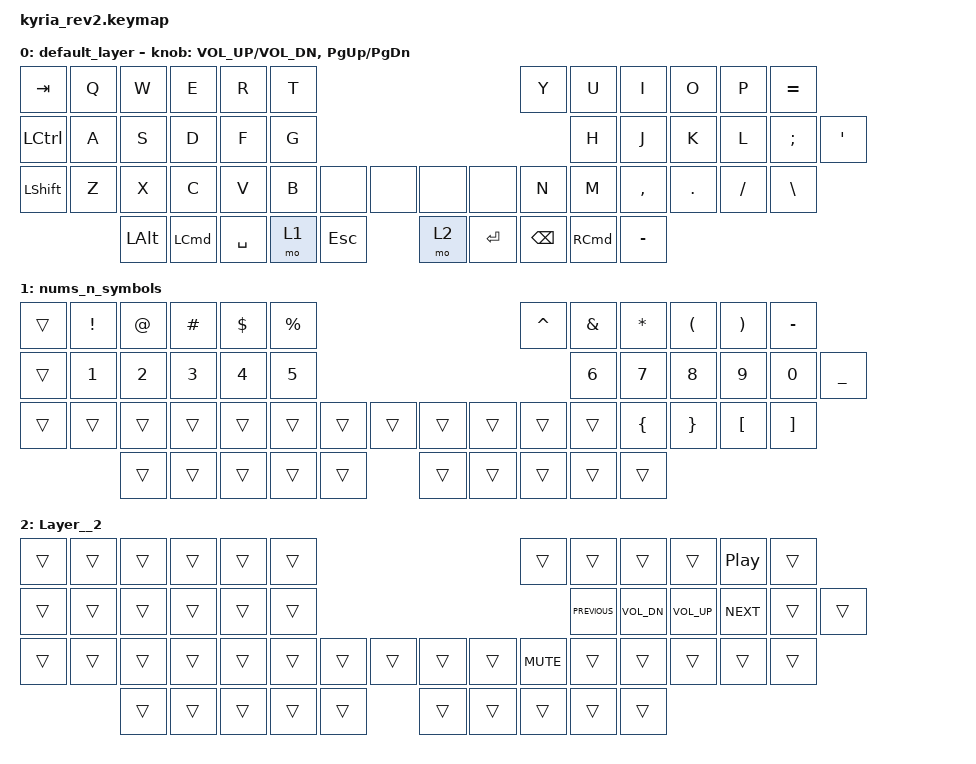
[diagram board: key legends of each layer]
/*
 * Copyright (c) 2020 The ZMK Contributors
 *
 * SPDX-License-Identifier: MIT
 */

#include <behaviors.dtsi>
#include <dt-bindings/zmk/keys.h>

/ {
    keymap {
        compatible = "zmk,keymap";

        default_layer {
            // ---------------------------------------------------------------------------------------------------------------------------------
            // |  ESC  |  Q  |  W  |  E   |  R   |  T   |                                          |  Y   |  U    |  I    |  O   |   P   |   \  |
            // |  TAB  |  A  |  S  |  D   |  F   |  G   |                                          |  H   |  J    |  K    |  L   |   ;   |   '  |
            // | SHIFT |  Z  |  X  |  C   |  V   |  B   | L SHIFT | L SHIFT |  | L SHIFT | L SHIFT |  N   |  M    |  ,    |  .   |   /   | CTRL |
            //                     | GUI  | DEL  | RET  |  SPACE  |   ESC   |  |   RET   |  SPACE  | TAB  | BSPC  | R-ALT |

            bindings = <
         &kp TAB  &kp Q  &kp W         &kp E             &kp R      &kp T                                            &kp Y              &kp U      &kp I    &kp O      &kp P      &kp EQUAL
&kp LEFT_CONTROL  &kp A  &kp S         &kp D             &kp F      &kp G                                            &kp H              &kp J      &kp K    &kp L   &kp SEMI        &kp SQT
  &kp LEFT_SHIFT  &kp Z  &kp X         &kp C             &kp V      &kp B  &none    &none  &none      &none          &kp N              &kp M  &kp COMMA  &kp DOT  &kp SLASH  &kp BACKSLASH
                                &kp LEFT_ALT  &kp LEFT_COMMAND  &kp SPACE  &mo 1  &kp ESC  &mo 2  &kp ENTER  &kp BACKSPACE  &kp RIGHT_COMMAND  &kp MINUS
            >;

            sensor-bindings = <&inc_dec_kp C_VOL_UP C_VOL_DN &inc_dec_kp PG_UP PG_DN>;
        };

        nums_n_symbols {
            bindings = <
&trans      &kp EXCL        &kp AT      &kp HASH    &kp DOLLAR   &kp PERCENT                                     &kp CARET  &kp AMPERSAND    &kp ASTERISK  &kp LEFT_PARENTHESIS  &kp RIGHT_PARENTHESIS          &kp MINUS
&trans  &kp NUMBER_1  &kp NUMBER_2  &kp NUMBER_3  &kp NUMBER_4  &kp NUMBER_5                                  &kp NUMBER_6   &kp NUMBER_7    &kp NUMBER_8          &kp NUMBER_9           &kp NUMBER_0          &kp UNDER
&trans        &trans        &trans        &trans        &trans        &trans  &trans  &trans  &trans  &trans        &trans         &trans  &kp LEFT_BRACE       &kp RIGHT_BRACE       &kp LEFT_BRACKET  &kp RIGHT_BRACKET
                                          &trans        &trans        &trans  &trans  &trans  &trans  &trans        &trans         &trans          &trans
            >;
        };

        Layer__2 {
            bindings = <
&trans  &trans  &trans  &trans  &trans  &trans                                          &trans        &trans        &trans      &trans  &kp C_PLAY_PAUSE  &trans
&trans  &trans  &trans  &trans  &trans  &trans                                  &kp C_PREVIOUS  &kp C_VOL_DN  &kp C_VOL_UP  &kp C_NEXT            &trans  &trans
&trans  &trans  &trans  &trans  &trans  &trans  &trans  &trans  &trans  &trans      &kp K_MUTE        &trans        &trans      &trans            &trans  &trans
                        &trans  &trans  &trans  &trans  &trans  &trans  &trans          &trans        &trans        &trans
            >;
        };
    };
};
